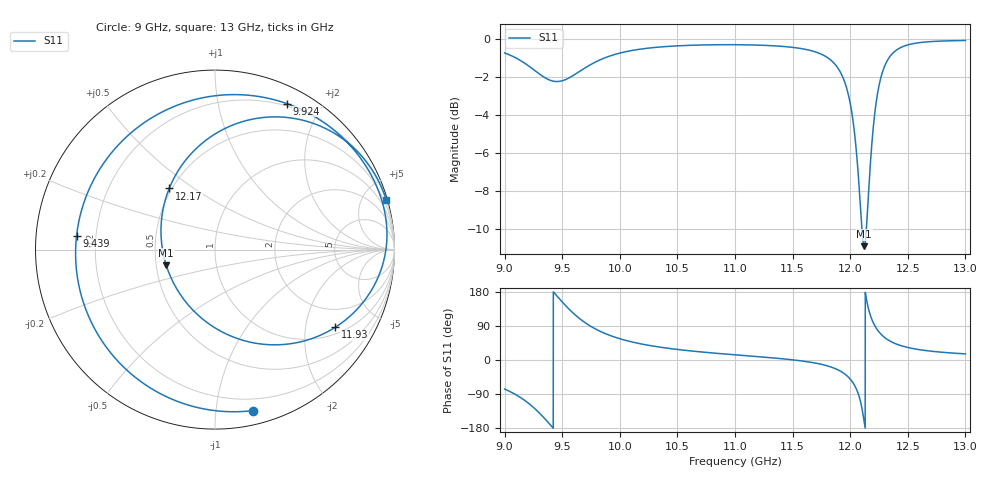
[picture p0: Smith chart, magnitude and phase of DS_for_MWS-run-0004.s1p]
! TOUCHSTONE file generated by CST DESIGN STUDIO
! Date and time: Tue Feb  4 13:41:03 2025
! Project name: C:\Work\MatlabApps\UnitCellOptimizationMatlab\CST\unitcell.cst
! Tree item: Tasks\Sweep1\SPara1\S-Parameters
! Header version: 2024
! Port assignment regex: !\s*Touchstone port\s*([0-9]+)\s*=\s*(CST MWS port|CST DES external port|CST DES block port)\s*(.+)\s* \(\"(.*)\"\)(\s*mode\s*([0-9]+))?.*
! Touchstone port assignment:
! Touchstone port 1 = CST DES external port 1 ("")
# GHz S MA R 50
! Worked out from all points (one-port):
!   4001 points, 9 GHz to 13 GHz, reference 50 ohm
!   lowest |S11| = -10.9 dB at 12.12 GHz (marker M1), VSWR 1.80, Z = 28.3 - j5.39 ohm
!   |S11| at or under -10 dB: 12.10204 GHz to 12.14004 GHz (38 MHz wide, 0.314 % of centre)
!   S11 on the Smith chart (normalised r, x): 9 GHz: 0.11, -1.26; 9.439 GHz: 0.13, +0.05; 9.924 GHz: 0.17, +1.59; 11.93 GHz: 1.23, -2.92; 12.17 GHz: 0.48, +0.40; 13 GHz: 0.15, +7.03
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9  0.9214 -76.7
9.127  0.8842 -96.9
9.228  0.8434 -119.3
9.346  0.7944 -153.9
9.439  0.7752 174.2
9.5  0.7784 153.2
9.588  0.8014 125.8
9.678  0.8343 103.0
9.782  0.8701 83.0
9.924  0.9067 63.8
10  0.9208 56.1
10.215  0.9463 40.6
10.5  0.9622 27.8
11  0.9689 13.7
11.5  0.9534 0.5
11.782  0.9041 -13.8
11.934  0.7978 -32.8
12  0.6791 -50.3
12.065  0.4614 -84.9
12.092  0.3503 -113.0
12.121  0.2854 -162.1
12.166  0.4258 126.8
12.211  0.6304 92.0
12.262  0.7844 69.8
12.361  0.9145 47.4
12.5  0.9678 33.0
12.689  0.9868 23.7
13  0.9942 16.2
